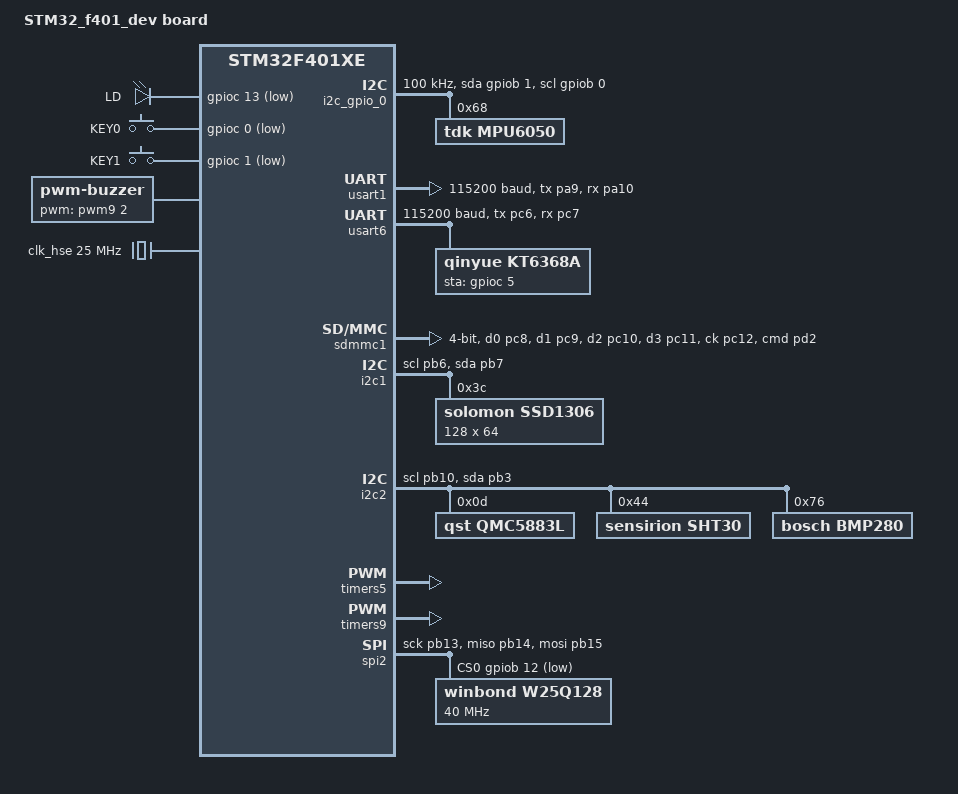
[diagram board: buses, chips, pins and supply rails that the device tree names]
/dts-v1/;

#include <st/f4/stm32f401Xe.dtsi>
#include <st/f4/stm32f401r(d-e)tx-pinctrl.dtsi>
#include <zephyr/dt-bindings/input/input-event-codes.h>
#include <zephyr/dt-bindings/led/led.h>

/ {
    model = "STM32_f401_dev board";
    compatible = "st,stm32_f401_dev";

    chosen {
        zephyr,console = &usart1;
        zephyr,shell-uart = &usart1;
        zephyr,sram = &sram0;
        zephyr,flash = &flash0;
        zephyr,display = &ssd1306;
    };

    aliases {
        led0 = &user_led;
        sw0 = &user_button0;
        sw1 = &user_button1;
    };

    leds {
        compatible = "gpio-leds";

        user_led: led-1 {
            gpios = <&gpioc 13 GPIO_ACTIVE_LOW>;
            label = "LD";
        };
    };

    gpio_keys {
        compatible = "gpio-keys";

        user_button0: button-1 {
            gpios = <&gpioc 0 (GPIO_ACTIVE_LOW | GPIO_PULL_UP)>;
            zephyr,code = <INPUT_KEY_0>;
            label = "KEY0";
        };

        user_button1: button-2 {
            gpios = <&gpioc 1 (GPIO_ACTIVE_LOW | GPIO_PULL_UP)>;
            zephyr,code = <INPUT_KEY_1>;
            label = "KEY1";
        };
    };

    led_strip {
        compatible = "led-strip-container";

        user_ws2812_1: ws2812_1 {
            compatible = "worldsemi_ws2812_pwm";
            pwms = <&pwm5 3 1250 PWM_POLARITY_NORMAL>;
            dmas = <&dma1 0 6 STM32_DMA_PERIPH_TX STM32_DMA_16BITS>;
            dma-names = "update";
            chain-length = <1>;
            color-mapping = <LED_COLOR_ID_GREEN LED_COLOR_ID_RED LED_COLOR_ID_BLUE>;
            zero-pulse-ns = <420>;
            one-pulse-ns = <830>;
            reset-delay = <80>;
        };
    };

    /* PWM 蜂鸣器:TIM9_CH2 -> PA3。
     * pwms 的周期是文档性默认值(压电片的共振频率,驱动运行时会按请求的音调覆盖) */
    buzzer: buzzer {
        compatible = "pwm-buzzer";
        pwms = <&pwm9 2 PWM_HZ(2700) PWM_POLARITY_NORMAL>;
    };

    /* 软件 I2C(bit-bang):F401 的 PB0/PB1 无硬件 I2C 复用,走 GPIO 位带。
     * SDA/SCL 配成开漏 + 内部上拉;若 MPU6050 模块自带外部上拉则更好。 */
    i2c_gpio_0: i2c_gpio_0 {
        compatible = "gpio-i2c";
        #address-cells = <1>;
        #size-cells = <0>;
        scl-gpios = <&gpiob 0 (GPIO_OPEN_DRAIN | GPIO_PULL_UP)>;
        sda-gpios = <&gpiob 1 (GPIO_OPEN_DRAIN | GPIO_PULL_UP)>;
        clock-frequency = <100000>;     /* 100kHz */
        status = "okay";

        mpu6050: mpu6050@68 {
            compatible = "tdk,mpu6050";
            reg = <0x68>;     /* AD0 接 GND */
            status = "okay";
        };
    };
};

&clk_lsi {
    status = "okay";
};

&clk_hse {
    clock-frequency = <DT_FREQ_M(25)>; /* 25MHz passive crystal */
    status = "okay";
};

&pll {
    div-m = <25>;
    mul-n = <336>;
    div-p = <4>;
    div-q = <7>;
    clocks = <&clk_hse>;
    status = "okay";
};

&rcc {
    clocks = <&pll>;
    clock-frequency = <DT_FREQ_M(84)>;
    ahb-prescaler = <1>;
    apb1-prescaler = <2>;
    apb2-prescaler = <1>;
};

&usart1 {
    pinctrl-0 = <&usart1_tx_pa9 &usart1_rx_pa10>;
    pinctrl-names = "default";
    current-speed = <115200>;
    status = "okay";
};

/* 硬件 USART6:MCU TX=PC6(AF8) -> 模块 RXD,MCU RX=PC7(AF8) <- 模块 TXD。
 * 注意方向:模块的 TX 脚接 MCU 的 RX 脚。115200 8N1 是 KT6368A 出厂默认。 */
&usart6 {
    pinctrl-0 = <&usart6_tx_pc6 &usart6_rx_pc7>;
    pinctrl-names = "default";
    current-speed = <115200>;
    status = "okay";

    kt6368a: kt6368a {
        compatible = "qinyue,kt6368a";
        status = "okay";
        /* 模块 STA 状态脚 -> PC5:已连接输出高电平,未连接为低电平(实测)。
         * 厂商资料称部分批次未连接时以 10Hz 脉冲输出,肉眼不可辨。 */
        sta-gpios = <&gpioc 5 GPIO_ACTIVE_HIGH>;
    };
};

/* SD 卡:SDIO 4-bit 总线,D0=PC8 D1=PC9 D2=PC10 D3=PC11 CK=PC12 CMD=PD2,
 * 全部 AF12,pinctrl 节点在 stm32f401r(d-e)tx-pinctrl.dtsi 里现成提供
 * (含上拉和 very-high-speed)。SDIO 内核时钟取自 PLL_Q,当前时钟树
 * (HSE 25MHz,M=25,N=336,Q=7 -> VCO 336MHz)下 PLL_Q 恰为 48MHz,
 * 满足驱动的 48MHz 检查,无需改时钟配置。F401 无卡检测引脚,未接
 * cd-gpios,卡未插时挂载会失败。 */
&sdmmc1 {
    status = "okay";
    pinctrl-0 = <&sdio_d0_pc8 &sdio_d1_pc9 &sdio_d2_pc10
                 &sdio_d3_pc11 &sdio_ck_pc12 &sdio_cmd_pd2>;
    pinctrl-names = "default";
    bus-width = <4>;
    disk-name = "SD";
    /* 传输阶段总线时钟 = 48MHz/(clk-div+2) = 24MHz(分母最小为 2,已是
     * 硬件上限;clk-bypass 可到 48MHz,但默认速度模式卡规范上限 25MHz,
     * 且本驱动不做 CMD6 高速模式切换,超规不可用)。贴 25MHz 上限跑,
     * 飞线若出现 sd read/write error(CRC)则退回 3(≈9.6MHz)。
     * 注意识别阶段(CMD0)固定 400kHz,不受此属性影响。 */
    clk-div = <0>;
};

&i2c1 {
    pinctrl-0 = <&i2c1_scl_pb6 &i2c1_sda_pb7>;
    pinctrl-names = "default";
    status = "okay";

    ssd1306: ssd1306@3c {
        compatible = "solomon,ssd1306";
        reg = <0x3c>;
        width = <128>;
        height = <64>;
        segment-offset = <0>;
        page-offset = <0>;
        display-offset = <0>;
        multiplex-ratio = <0x3f>;
        segment-remap;
        prechargep = <0x22>;
        /* 开启软件复位*/
        softreset-on;
    };
};

/* 硬件 I2C2:SCL=PB10(AF4), SDA=PB3(AF9)。
 * 注意 PB3 复位态是 JTDO/SWO 调试引脚,复用为 I2C 后 SWO 不可用,
 * SWD 下载/调试(PA13/PA14)不受影响。 */
&i2c2 {
    pinctrl-0 = <&i2c2_scl_pb10 &i2c2_sda_pb3>;
    pinctrl-names = "default";
    status = "okay";

    qmc5883l: qmc5883l@0d {
        compatible = "qst,qmc5883l";
        reg = <0x0d>;     /* QMC5883L 固定 7 位地址 0x0D */
        status = "okay";
    };

    sht30: sht30@44 {
        compatible = "sensirion,sht30";
        reg = <0x44>;
        status = "okay";
    };

    bmp280: bmp280@76 {
        compatible = "bosch,bmp280";
        reg = <0x76>;     /* SDO 接 GND 为 0x76,接 VDDIO 为 0x77 */
        status = "okay";
    };
};

&timers5 {
	status = "okay";

	pwm5: pwm {
		status = "okay";
		pinctrl-0 = <&tim5_ch3_pa2>;
		pinctrl-names = "default";
	};
};

&timers9 {
	status = "okay";

	pwm9: pwm {
		status = "okay";
		pinctrl-0 = <&tim9_ch2_pa3>;
		pinctrl-names = "default";
	};
};

&dma1 {
	status = "okay";
};

&spi2 {
    pinctrl-0 = <&spi2_sck_pb13 &spi2_miso_pb14 &spi2_mosi_pb15>;
    pinctrl-names = "default";
    cs-gpios = <&gpiob 12 GPIO_ACTIVE_LOW>;
    status = "okay";

    w25q128: w25q128@0 {
        compatible = "winbond,w25q128";
        reg = <0>;
        spi-max-frequency = <40000000>;
        size = <0x8000000>;     //128Mbit
        spi-cpol;               // 1
        spi-cpha;               // 1
        status = "okay";
    };
};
